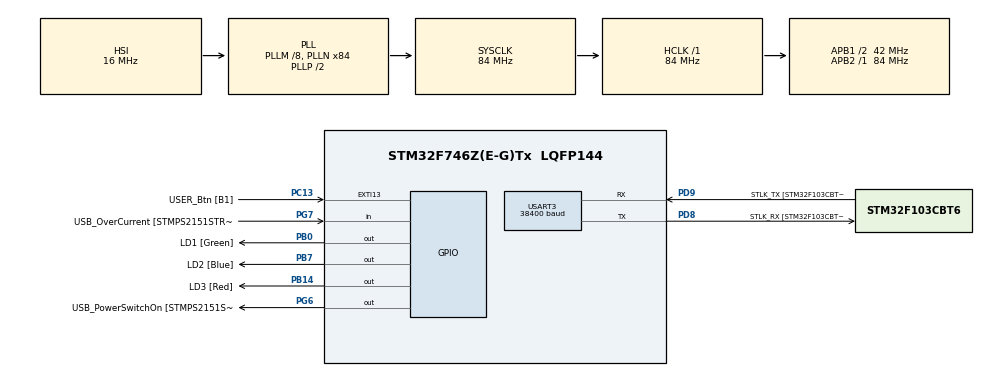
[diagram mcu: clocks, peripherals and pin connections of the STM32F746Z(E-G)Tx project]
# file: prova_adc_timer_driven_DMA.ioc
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ADC1.Channel-4\#ChannelRegularConversion=ADC_CHANNEL_TEMPSENSOR
ADC1.Channel-5\#ChannelRegularConversion=ADC_CHANNEL_TEMPSENSOR
ADC1.Channel-6\#ChannelRegularConversion=ADC_CHANNEL_TEMPSENSOR
ADC1.ClockPrescaler=ADC_CLOCK_SYNC_PCLK_DIV8
ADC1.DMAContinuousRequests=ENABLE
ADC1.ExternalTrigConv=ADC_EXTERNALTRIGCONV_T5_TRGO
ADC1.NbrOfConversion=3
ADC1.NbrOfConversionFlag=1
ADC1.Rank-4\#ChannelRegularConversion=1
ADC1.Rank-5\#ChannelRegularConversion=2
ADC1.Rank-6\#ChannelRegularConversion=3
ADC1.SamplingTime-4\#ChannelRegularConversion=ADC_SAMPLETIME_480CYCLES
ADC1.SamplingTime-5\#ChannelRegularConversion=ADC_SAMPLETIME_480CYCLES
ADC1.SamplingTime-6\#ChannelRegularConversion=ADC_SAMPLETIME_480CYCLES
ADC1.master=1
Dma.ADC1.0.Direction=DMA_PERIPH_TO_MEMORY
Dma.ADC1.0.FIFOMode=DMA_FIFOMODE_DISABLE
Dma.ADC1.0.Instance=DMA2_Stream0
Dma.ADC1.0.MemDataAlignment=DMA_MDATAALIGN_HALFWORD
Dma.ADC1.0.MemInc=DMA_MINC_ENABLE
Dma.ADC1.0.Mode=DMA_CIRCULAR
Dma.ADC1.0.PeriphDataAlignment=DMA_PDATAALIGN_HALFWORD
Dma.ADC1.0.PeriphInc=DMA_PINC_DISABLE
Dma.ADC1.0.Priority=DMA_PRIORITY_VERY_HIGH
Dma.Request0=ADC1
Mcu.Family=STM32F7
Mcu.Name=STM32F746Z(E-G)Tx
Mcu.Package=LQFP144
NVIC.DMA2_Stream0_IRQn=true\:0\:0\:false\:false\:true
NVIC.PriorityGroup=NVIC_PRIORITYGROUP_4
PA1.GPIO_Label=RMII_REF_CLK [LAN8742A-CZ-TR_REFCLK0]
PA1.Signal=ETH_REF_CLK
PA10.GPIO_Label=USB_ID
PA10.Signal=USB_OTG_FS_ID
PA11.GPIO_Label=USB_DM
PA11.Signal=USB_OTG_FS_DM
PA12.GPIO_Label=USB_DP
PA12.Signal=USB_OTG_FS_DP
PA13.GPIO_Label=TMS
PA13.Signal=SYS_JTMS-SWDIO
PA14.GPIO_Label=TCK
PA14.Signal=SYS_JTCK-SWCLK
PA2.GPIO_Label=RMII_MDIO [LAN8742A-CZ-TR_MDIO]
PA2.Signal=ETH_MDIO
PA7.GPIO_Label=RMII_CRS_DV [LAN8742A-CZ-TR_CRS_DV]
PA7.Signal=ETH_CRS_DV
PA8.GPIO_Label=USB_SOF [TP1]
PA8.Signal=USB_OTG_FS_SOF
PA9.GPIO_Label=USB_VBUS
PA9.Signal=USB_OTG_FS_VBUS
PB0.GPIO_Label=LD1 [Green]
PB0.Signal=GPIO_Output
PB13.GPIO_Label=RMII_TXD1 [LAN8742A-CZ-TR_TXD1]
PB13.Signal=ETH_TXD1
PB14.GPIO_Label=LD3 [Red]
PB14.Signal=GPIO_Output
PB3.GPIO_Label=SW0
PB3.Signal=SYS_JTDO-SWO
PB7.GPIO_Label=LD2 [Blue]
PB7.Signal=GPIO_Output
PC1.GPIO_Label=RMII_MDC [LAN8742A-CZ-TR_MDC]
PC1.Signal=ETH_MDC
PC13.GPIO_Label=USER_Btn [B1]
PC13.Signal=GPXTI13
PC14/OSC32_IN.Signal=RCC_OSC32_IN
PC15/OSC32_OUT.Signal=RCC_OSC32_OUT
PC4.GPIO_Label=RMII_RXD0 [LAN8742A-CZ-TR_RXD0]
PC4.Signal=ETH_RXD0
PC5.GPIO_Label=RMII_RXD1 [LAN8742A-CZ-TR_RXD1]
PC5.Signal=ETH_RXD1
PD8.GPIO_Label=STLK_RX [STM32F103CBT6_PA3]
PD8.Mode=Asynchronous
PD8.Signal=USART3_TX
PD9.GPIO_Label=STLK_TX [STM32F103CBT6_PA2]
PD9.Mode=Asynchronous
PD9.Signal=USART3_RX
PG11.GPIO_Label=RMII_TX_EN [LAN8742A-CZ-TR_TXEN]
PG11.Signal=ETH_TX_EN
PG13.GPIO_Label=RMII_TXD0 [LAN8742A-CZ-TR_TXD0]
PG13.Signal=ETH_TXD0
PG6.GPIO_Label=USB_PowerSwitchOn [STMPS2151STR_EN]
PG6.Signal=GPIO_Output
PG7.GPIO_Label=USB_OverCurrent [STMPS2151STR_FAULT]
PG7.Signal=GPIO_Input
PH0/OSC_IN.GPIO_Label=MCO [STM32F103CBT6_PA8]
PH0/OSC_IN.Signal=RCC_OSC_IN
PH1/OSC_OUT.Signal=RCC_OSC_OUT
ProjectManager.HeapSize=0x200
ProjectManager.StackSize=0x400
ProjectManager.TargetToolchain=MDK-ARM V5
RCC.48MHZClocksFreq_Value=24000000
RCC.AHBFreq_Value=84000000
RCC.APB1CLKDivider=RCC_HCLK_DIV2
RCC.APB1Freq_Value=42000000
RCC.APB1TimFreq_Value=84000000
RCC.APB2Freq_Value=84000000
RCC.APB2TimFreq_Value=84000000
RCC.CortexFreq_Value=84000000
RCC.HCLKFreq_Value=84000000
RCC.HSE_VALUE=8000000
RCC.HSI_VALUE=16000000
RCC.LSE_VALUE=32768
RCC.PLLM=8
RCC.PLLMUL=RCC_PLL_MUL9
RCC.PLLN=84
RCC.PRESCALERUSB=RCC_USBCLKSOURCE_PLL_DIV1_5
RCC.SYSCLKFreq_VALUE=84000000
RCC.SYSCLKSource=RCC_SYSCLKSOURCE_PLLCLK
RCC.SYSCLKSourceVirtual=RCC_SYSCLKSOURCE_PLLCLK
RCC.USBFreq_Value=84000000
RCC.VCOOutputFreq_Value=168000000
TIM5.Period=1999
TIM5.Prescaler=41999
TIM5.TIM_MasterOutputTrigger=TIM_TRGO_UPDATE
USART3.BaudRate=38400
USART3.VirtualMode-Asynchronous=VM_ASYNC
USART3.WordLength=WORDLENGTH_8B
VP_ADC1_TempSens_Input.Mode=IN-TempSens
VP_TIM5_VS_ClockSourceINT.Mode=Internal
board=NUCLEO-F746ZG

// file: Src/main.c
/**
  ******************************************************************************
  * File Name          : main.c
  * Description        : Main program body
  ******************************************************************************
  *
  * COPYRIGHT(c) 2017 STMicroelectronics
  *
  * Redistribution and use in source and binary forms, with or without modification,
  * are permitted provided that the following conditions are met:
  *   1. Redistributions of source code must retain the above copyright notice,
  *      this list of conditions and the following disclaimer.
  *   2. Redistributions in binary form must reproduce the above copyright notice,
  *      this list of conditions and the following disclaimer in the documentation
  *      and/or other materials provided with the distribution.
  *   3. Neither the name of STMicroelectronics nor the names of its contributors
  *      may be used to endorse or promote products derived from this software
  *      without specific prior written permission.
  *
  * THIS SOFTWARE IS PROVIDED BY THE COPYRIGHT HOLDERS AND CONTRIBUTORS "AS IS"
  * AND ANY EXPRESS OR IMPLIED WARRANTIES, INCLUDING, BUT NOT LIMITED TO, THE
  * IMPLIED WARRANTIES OF MERCHANTABILITY AND FITNESS FOR A PARTICULAR PURPOSE ARE
  * DISCLAIMED. IN NO EVENT SHALL THE COPYRIGHT HOLDER OR CONTRIBUTORS BE LIABLE
  * FOR ANY DIRECT, INDIRECT, INCIDENTAL, SPECIAL, EXEMPLARY, OR CONSEQUENTIAL
  * DAMAGES (INCLUDING, BUT NOT LIMITED TO, PROCUREMENT OF SUBSTITUTE GOODS OR
  * SERVICES; LOSS OF USE, DATA, OR PROFITS; OR BUSINESS INTERRUPTION) HOWEVER
  * CAUSED AND ON ANY THEORY OF LIABILITY, WHETHER IN CONTRACT, STRICT LIABILITY,
  * OR TORT (INCLUDING NEGLIGENCE OR OTHERWISE) ARISING IN ANY WAY OUT OF THE USE
  * OF THIS SOFTWARE, EVEN IF ADVISED OF THE POSSIBILITY OF SUCH DAMAGE.
  *
  ******************************************************************************
  */
#include "main.h"
#include "stm32f7xx_hal.h"

ADC_HandleTypeDef hadc1;
DMA_HandleTypeDef hdma_adc1;

TIM_HandleTypeDef htim5;

UART_HandleTypeDef huart3;

/* USER CODE BEGIN PV */
/* Private variables ---------------------------------------------------------*/
 volatile uint8_t convCompleted = 0;
/* USER CODE END PV */

void SystemClock_Config(void);
void Error_Handler(void);
static void MX_GPIO_Init(void);
static void MX_DMA_Init(void);
static void MX_ADC1_Init(void);
static void MX_USART3_UART_Init(void);
static void MX_TIM5_Init(void);

/* USER CODE BEGIN PFP */
/* Private function prototypes -----------------------------------------------*/

/* USER CODE END PFP */

int main(void)
{

  /* USER CODE BEGIN 1 */

	char msg[20];
	uint16_t rawValues[3];
	float temp;

  /* USER CODE END 1 */

  /* MCU Configuration----------------------------------------------------------*/

  /* Reset of all peripherals, Initializes the Flash interface and the Systick. */
  HAL_Init();

  /* Configure the system clock */
  SystemClock_Config();

  /* Initialize all configured peripherals */
  MX_GPIO_Init();
  MX_DMA_Init();
  MX_ADC1_Init();
  MX_USART3_UART_Init();
  MX_TIM5_Init();

  /* USER CODE BEGIN 2 */
	HAL_TIM_Base_Start(&htim5);
	HAL_ADC_Start_DMA(&hadc1, (uint32_t*)rawValues, 3);
  /* USER CODE END 2 */

  /* Infinite loop */
  while (1)
  {

  /* USER CODE BEGIN 3 */
	 while(!convCompleted);

		HAL_ADC_Stop_DMA(&hadc1);

		for(uint8_t i = 0; i < hadc1.Init.NbrOfConversion; i++) {
			temp = ((float)rawValues[i]) / 4095 * 3300;
			temp = ((temp - 760.0) / 2.5) + 25;

			sprintf(msg, "rawValue %d: %hu\r\n", i, rawValues[i]);
			HAL_UART_Transmit(&huart3, (uint8_t*) msg, strlen(msg), HAL_MAX_DELAY);

			 sprintf(msg, "Temperature %d: %f\r\n",i, temp);
			 HAL_UART_Transmit(&huart3, (uint8_t*) msg, strlen(msg), HAL_MAX_DELAY);
		}
		convCompleted = 0;
  }
  /* USER CODE END 3 */

}

/** System Clock Configuration
*/
void SystemClock_Config(void)
{

  RCC_OscInitTypeDef RCC_OscInitStruct;
  RCC_ClkInitTypeDef RCC_ClkInitStruct;
  RCC_PeriphCLKInitTypeDef PeriphClkInitStruct;

    /**Configure the main internal regulator output voltage
    */
  __HAL_RCC_PWR_CLK_ENABLE();

  __HAL_PWR_VOLTAGESCALING_CONFIG(PWR_REGULATOR_VOLTAGE_SCALE3);

    /**Initializes the CPU, AHB and APB busses clocks
    */
  RCC_OscInitStruct.OscillatorType = RCC_OSCILLATORTYPE_HSI;
  RCC_OscInitStruct.HSIState = RCC_HSI_ON;
  RCC_OscInitStruct.HSICalibrationValue = 16;
  RCC_OscInitStruct.PLL.PLLState = RCC_PLL_ON;
  RCC_OscInitStruct.PLL.PLLSource = RCC_PLLSOURCE_HSI;
  RCC_OscInitStruct.PLL.PLLM = 8;
  RCC_OscInitStruct.PLL.PLLN = 84;
  RCC_OscInitStruct.PLL.PLLP = RCC_PLLP_DIV2;
  RCC_OscInitStruct.PLL.PLLQ = 2;
  if (HAL_RCC_OscConfig(&RCC_OscInitStruct) != HAL_OK)
  {
    Error_Handler();
  }

    /**Initializes the CPU, AHB and APB busses clocks
    */
  RCC_ClkInitStruct.ClockType = RCC_CLOCKTYPE_HCLK|RCC_CLOCKTYPE_SYSCLK
                              |RCC_CLOCKTYPE_PCLK1|RCC_CLOCKTYPE_PCLK2;
  RCC_ClkInitStruct.SYSCLKSource = RCC_SYSCLKSOURCE_PLLCLK;
  RCC_ClkInitStruct.AHBCLKDivider = RCC_SYSCLK_DIV1;
  RCC_ClkInitStruct.APB1CLKDivider = RCC_HCLK_DIV2;
  RCC_ClkInitStruct.APB2CLKDivider = RCC_HCLK_DIV1;

  if (HAL_RCC_ClockConfig(&RCC_ClkInitStruct, FLASH_LATENCY_2) != HAL_OK)
  {
    Error_Handler();
  }

  PeriphClkInitStruct.PeriphClockSelection = RCC_PERIPHCLK_USART3;
  PeriphClkInitStruct.Usart3ClockSelection = RCC_USART3CLKSOURCE_PCLK1;
  if (HAL_RCCEx_PeriphCLKConfig(&PeriphClkInitStruct) != HAL_OK)
  {
    Error_Handler();
  }

    /**Configure the Systick interrupt time
    */
  HAL_SYSTICK_Config(HAL_RCC_GetHCLKFreq()/1000);

    /**Configure the Systick
    */
  HAL_SYSTICK_CLKSourceConfig(SYSTICK_CLKSOURCE_HCLK);

  /* SysTick_IRQn interrupt configuration */
  HAL_NVIC_SetPriority(SysTick_IRQn, 0, 0);
}

/* ADC1 init function */
static void MX_ADC1_Init(void)
{

  ADC_ChannelConfTypeDef sConfig;

    /**Configure the global features of the ADC (Clock, Resolution, Data Alignment and number of conversion)
    */
  hadc1.Instance = ADC1;
  hadc1.Init.ClockPrescaler = ADC_CLOCK_SYNC_PCLK_DIV8;
  hadc1.Init.Resolution = ADC_RESOLUTION_12B;
  hadc1.Init.ScanConvMode = DISABLE;
  hadc1.Init.ContinuousConvMode = DISABLE;
  hadc1.Init.DiscontinuousConvMode = DISABLE;
  hadc1.Init.ExternalTrigConvEdge = ADC_EXTERNALTRIGCONVEDGE_RISING;
  hadc1.Init.ExternalTrigConv = ADC_EXTERNALTRIGCONV_T5_TRGO;
  hadc1.Init.DataAlign = ADC_DATAALIGN_RIGHT;
  hadc1.Init.NbrOfConversion = 3;
  hadc1.Init.DMAContinuousRequests = ENABLE;
  hadc1.Init.EOCSelection = ADC_EOC_SINGLE_CONV;
  if (HAL_ADC_Init(&hadc1) != HAL_OK)
  {
    Error_Handler();
  }

    /**Configure for the selected ADC regular channel its corresponding rank in the sequencer and its sample time.
    */
  sConfig.Channel = ADC_CHANNEL_TEMPSENSOR;
  sConfig.Rank = 1;
  sConfig.SamplingTime = ADC_SAMPLETIME_480CYCLES;
  if (HAL_ADC_ConfigChannel(&hadc1, &sConfig) != HAL_OK)
  {
    Error_Handler();
  }

    /**Configure for the selected ADC regular channel its corresponding rank in the sequencer and its sample time.
    */
  sConfig.Rank = 2;
  if (HAL_ADC_ConfigChannel(&hadc1, &sConfig) != HAL_OK)
  {
    Error_Handler();
  }

    /**Configure for the selected ADC regular channel its corresponding rank in the sequencer and its sample time.
    */
  sConfig.Rank = 3;
  if (HAL_ADC_ConfigChannel(&hadc1, &sConfig) != HAL_OK)
  {
    Error_Handler();
  }

}

/* TIM5 init function */
static void MX_TIM5_Init(void)
{

  TIM_ClockConfigTypeDef sClockSourceConfig;
  TIM_MasterConfigTypeDef sMasterConfig;

  htim5.Instance = TIM5;
  htim5.Init.Prescaler = 41999;
  htim5.Init.CounterMode = TIM_COUNTERMODE_UP;
  htim5.Init.Period = 1999;
  htim5.Init.ClockDivision = TIM_CLOCKDIVISION_DIV1;
  htim5.Init.AutoReloadPreload = TIM_AUTORELOAD_PRELOAD_DISABLE;
  if (HAL_TIM_Base_Init(&htim5) != HAL_OK)
  {
    Error_Handler();
  }

  sClockSourceConfig.ClockSource = TIM_CLOCKSOURCE_INTERNAL;
  if (HAL_TIM_ConfigClockSource(&htim5, &sClockSourceConfig) != HAL_OK)
  {
    Error_Handler();
  }

  sMasterConfig.MasterOutputTrigger = TIM_TRGO_UPDATE;
  sMasterConfig.MasterSlaveMode = TIM_MASTERSLAVEMODE_DISABLE;
  if (HAL_TIMEx_MasterConfigSynchronization(&htim5, &sMasterConfig) != HAL_OK)
  {
    Error_Handler();
  }

}

/* USART3 init function */
static void MX_USART3_UART_Init(void)
{

  huart3.Instance = USART3;
  huart3.Init.BaudRate = 38400;
  huart3.Init.WordLength = UART_WORDLENGTH_8B;
  huart3.Init.StopBits = UART_STOPBITS_1;
  huart3.Init.Parity = UART_PARITY_NONE;
  huart3.Init.Mode = UART_MODE_TX_RX;
  huart3.Init.HwFlowCtl = UART_HWCONTROL_NONE;
  huart3.Init.OverSampling = UART_OVERSAMPLING_16;
  huart3.Init.OneBitSampling = UART_ONE_BIT_SAMPLE_DISABLE;
  huart3.AdvancedInit.AdvFeatureInit = UART_ADVFEATURE_NO_INIT;
  if (HAL_UART_Init(&huart3) != HAL_OK)
  {
    Error_Handler();
  }

}

static void MX_DMA_Init(void)
{
  /* DMA controller clock enable */
  __HAL_RCC_DMA2_CLK_ENABLE();

  /* DMA interrupt init */
  /* DMA2_Stream0_IRQn interrupt configuration */
  HAL_NVIC_SetPriority(DMA2_Stream0_IRQn, 0, 0);
  HAL_NVIC_EnableIRQ(DMA2_Stream0_IRQn);

}

/** Configure pins as
        * Analog
        * Input
        * Output
        * EVENT_OUT
        * EXTI
     PC1   ------> ETH_MDC
     PA1   ------> ETH_REF_CLK
     PA2   ------> ETH_MDIO
     PA7   ------> ETH_CRS_DV
     PC4   ------> ETH_RXD0
     PC5   ------> ETH_RXD1
     PB13   ------> ETH_TXD1
     PA8   ------> USB_OTG_FS_SOF
     PA9   ------> USB_OTG_FS_VBUS
     PA10   ------> USB_OTG_FS_ID
     PA11   ------> USB_OTG_FS_DM
     PA12   ------> USB_OTG_FS_DP
     PG11   ------> ETH_TX_EN
     PG13   ------> ETH_TXD0
*/
static void MX_GPIO_Init(void)
{

  GPIO_InitTypeDef GPIO_InitStruct;

  /* GPIO Ports Clock Enable */
  __HAL_RCC_GPIOC_CLK_ENABLE();
  __HAL_RCC_GPIOH_CLK_ENABLE();
  __HAL_RCC_GPIOA_CLK_ENABLE();
  __HAL_RCC_GPIOB_CLK_ENABLE();
  __HAL_RCC_GPIOD_CLK_ENABLE();
  __HAL_RCC_GPIOG_CLK_ENABLE();

  /*Configure GPIO pin Output Level */
  HAL_GPIO_WritePin(GPIOB, LD1_Pin|LD3_Pin|LD2_Pin, GPIO_PIN_RESET);

  /*Configure GPIO pin Output Level */
  HAL_GPIO_WritePin(USB_PowerSwitchOn_GPIO_Port, USB_PowerSwitchOn_Pin, GPIO_PIN_RESET);

  /*Configure GPIO pin : USER_Btn_Pin */
  GPIO_InitStruct.Pin = USER_Btn_Pin;
  GPIO_InitStruct.Mode = GPIO_MODE_IT_RISING;
  GPIO_InitStruct.Pull = GPIO_NOPULL;
  HAL_GPIO_Init(USER_Btn_GPIO_Port, &GPIO_InitStruct);

  /*Configure GPIO pins : RMII_MDC_Pin RMII_RXD0_Pin RMII_RXD1_Pin */
  GPIO_InitStruct.Pin = RMII_MDC_Pin|RMII_RXD0_Pin|RMII_RXD1_Pin;
  GPIO_InitStruct.Mode = GPIO_MODE_AF_PP;
  GPIO_InitStruct.Pull = GPIO_NOPULL;
  GPIO_InitStruct.Speed = GPIO_SPEED_FREQ_VERY_HIGH;
  GPIO_InitStruct.Alternate = GPIO_AF11_ETH;
  HAL_GPIO_Init(GPIOC, &GPIO_InitStruct);

  /*Configure GPIO pins : RMII_REF_CLK_Pin RMII_MDIO_Pin RMII_CRS_DV_Pin */
  GPIO_InitStruct.Pin = RMII_REF_CLK_Pin|RMII_MDIO_Pin|RMII_CRS_DV_Pin;
  GPIO_InitStruct.Mode = GPIO_MODE_AF_PP;
  GPIO_InitStruct.Pull = GPIO_NOPULL;
  GPIO_InitStruct.Speed = GPIO_SPEED_FREQ_VERY_HIGH;
  GPIO_InitStruct.Alternate = GPIO_AF11_ETH;
  HAL_GPIO_Init(GPIOA, &GPIO_InitStruct);

  /*Configure GPIO pins : LD1_Pin LD3_Pin LD2_Pin */
  GPIO_InitStruct.Pin = LD1_Pin|LD3_Pin|LD2_Pin;
  GPIO_InitStruct.Mode = GPIO_MODE_OUTPUT_PP;
  GPIO_InitStruct.Pull = GPIO_NOPULL;
  GPIO_InitStruct.Speed = GPIO_SPEED_FREQ_LOW;
  HAL_GPIO_Init(GPIOB, &GPIO_InitStruct);

  /*Configure GPIO pin : RMII_TXD1_Pin */
  GPIO_InitStruct.Pin = RMII_TXD1_Pin;
  GPIO_InitStruct.Mode = GPIO_MODE_AF_PP;
  GPIO_InitStruct.Pull = GPIO_NOPULL;
  GPIO_InitStruct.Speed = GPIO_SPEED_FREQ_VERY_HIGH;
  GPIO_InitStruct.Alternate = GPIO_AF11_ETH;
  HAL_GPIO_Init(RMII_TXD1_GPIO_Port, &GPIO_InitStruct);

  /*Configure GPIO pin : USB_PowerSwitchOn_Pin */
  GPIO_InitStruct.Pin = USB_PowerSwitchOn_Pin;
  GPIO_InitStruct.Mode = GPIO_MODE_OUTPUT_PP;
  GPIO_InitStruct.Pull = GPIO_NOPULL;
  GPIO_InitStruct.Speed = GPIO_SPEED_FREQ_LOW;
  HAL_GPIO_Init(USB_PowerSwitchOn_GPIO_Port, &GPIO_InitStruct);

  /*Configure GPIO pin : USB_OverCurrent_Pin */
  GPIO_InitStruct.Pin = USB_OverCurrent_Pin;
  GPIO_InitStruct.Mode = GPIO_MODE_INPUT;
  GPIO_InitStruct.Pull = GPIO_NOPULL;
  HAL_GPIO_Init(USB_OverCurrent_GPIO_Port, &GPIO_InitStruct);

  /*Configure GPIO pins : USB_SOF_Pin USB_ID_Pin USB_DM_Pin USB_DP_Pin */
  GPIO_InitStruct.Pin = USB_SOF_Pin|USB_ID_Pin|USB_DM_Pin|USB_DP_Pin;
  GPIO_InitStruct.Mode = GPIO_MODE_AF_PP;
  GPIO_InitStruct.Pull = GPIO_NOPULL;
  GPIO_InitStruct.Speed = GPIO_SPEED_FREQ_VERY_HIGH;
  GPIO_InitStruct.Alternate = GPIO_AF10_OTG_FS;
  HAL_GPIO_Init(GPIOA, &GPIO_InitStruct);

  /*Configure GPIO pin : USB_VBUS_Pin */
  GPIO_InitStruct.Pin = USB_VBUS_Pin;
  GPIO_InitStruct.Mode = GPIO_MODE_INPUT;
  GPIO_InitStruct.Pull = GPIO_NOPULL;
  HAL_GPIO_Init(USB_VBUS_GPIO_Port, &GPIO_InitStruct);

  /*Configure GPIO pins : RMII_TX_EN_Pin RMII_TXD0_Pin */
  GPIO_InitStruct.Pin = RMII_TX_EN_Pin|RMII_TXD0_Pin;
  GPIO_InitStruct.Mode = GPIO_MODE_AF_PP;
  GPIO_InitStruct.Pull = GPIO_NOPULL;
  GPIO_InitStruct.Speed = GPIO_SPEED_FREQ_VERY_HIGH;
  GPIO_InitStruct.Alternate = GPIO_AF11_ETH;
  HAL_GPIO_Init(GPIOG, &GPIO_InitStruct);

}

void Error_Handler(void)
{
  while(1)
  {
  }
}

/************************ (C) COPYRIGHT STMicroelectronics *****END OF FILE****/
